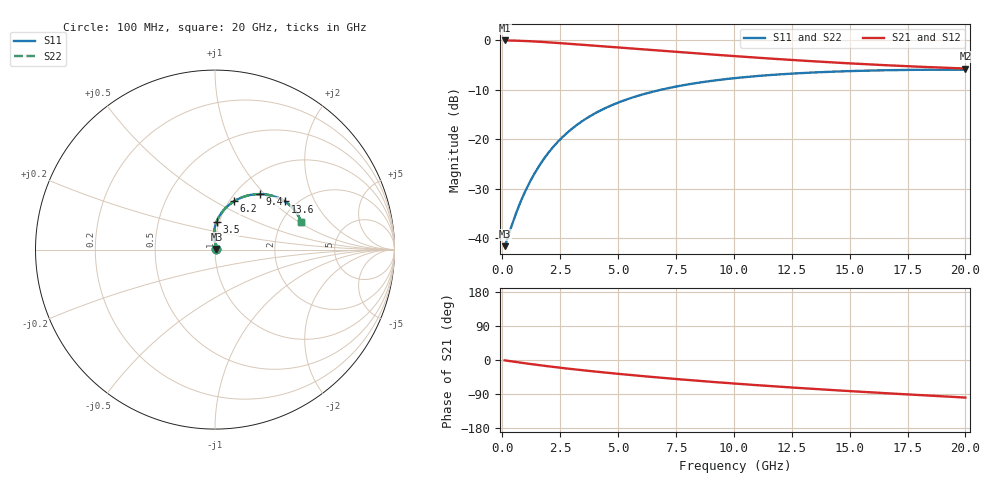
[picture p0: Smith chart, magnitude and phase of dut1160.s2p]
! Touchstone file exported from HFSS 2024.1.0
!  File:  C:/UserFiles/LocalFiles/RDL_TSV_Batchsim/temp_RDL_TSV_1160_1780120388.aedt
!  Generated:  02:11:01 PM May 30, 2026
!  Design:  RDL_TSV
!  Project:  temp_RDL_TSV_1160_1780120388
!  Setup:  Setup1
!  Solution:  Sweep
! Variables:
!  dtsv = 6.74um
!  hbump = 3um
!  htsv = 53.3um
!  ldown = 263.85um
!  lrdl = 125.52um
!  p = 40
!  p1 = 56.34um
!  rhole = 10um
!  subl = 1293.63um
!  t = 450um
!  tdown = 4.86um
!  trdl = 4.55um
!  viad = 10um
!  wdown = 12.55um
!  wrdl = 19.38um
!  xbump = 18um
# GHz S MA R 50.000000
! Terminal data exported
! Port[1] = TM1_1_T1
! Port[2] = TM1_4_T1
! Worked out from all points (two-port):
!   200 points, 100 MHz to 20 GHz, reference 50 ohm
!   highest |S21| = -0.07 dB at 100 MHz (marker M1); lowest = -5.7 dB at 20 GHz (marker M2)
!   |S21| within 3 dB of the highest: start of sweep to 9.538 GHz
!   lowest |S11| = -41.6 dB at 100 MHz (marker M3), VSWR 1.02, Z = 50.8 + j0.292 ohm
!   |S11| at or under -10 dB: start of sweep to 6.875 GHz
!   |S22| runs from -41.6 to -6.0 dB; largest |S21 - S12| = 7.1e-15
!   S11 on the Smith chart (normalised r, x): 100 MHz: 1.02, +0.01; 3.5 GHz: 0.97, +0.31; 6.2 GHz: 1.05, +0.62; 9.4 GHz: 1.28, +0.94; 13.6 GHz: 1.75, +1.21; 20 GHz: 2.54, +1.03
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0.1  0.008298 20.3  0.992 -0.9  0.992 -0.9  0.008298 20.3
! Gamma 0 0 0 0
! Port Impedance 50 0 50 0
0.5  0.0155 64.5  0.9884 -4.4  0.9884 -4.4  0.0155 64.5
0.8  0.02356 79.0  0.9835 -7.0  0.9835 -7.0  0.02356 79.0
1.1  0.03357 87.0  0.9768 -9.6  0.9768 -9.6  0.03357 87.0
1.5  0.04965 92.2  0.9658 -12.8  0.9658 -12.8  0.04964 92.2
1.9  0.06828 93.8  0.953 -16.0  0.953 -16.0  0.06826 93.8
2.4  0.09405 93.0  0.9357 -19.7  0.9357 -19.7  0.09402 93.0
2.9  0.1213 90.7  0.9177 -23.2  0.9177 -23.2  0.1213 90.7
3.5  0.1546 86.9  0.8959 -27.2  0.8959 -27.2  0.1545 86.9
4.1  0.1873 82.7  0.8744 -31.1  0.8744 -31.1  0.1872 82.7
4.7  0.2186 78.5  0.8532 -34.7  0.8532 -34.7  0.2185 78.5
5.4  0.2529 73.7  0.8292 -38.8  0.8292 -38.8  0.2528 73.7
6.2  0.2888 68.5  0.8026 -43.3  0.8026 -43.3  0.2887 68.5
6.8  0.3133 64.9  0.7832 -46.5  0.7832 -46.5  0.3132 64.9
8  0.3564 58.1  0.7462 -52.6  0.7462 -52.6  0.3563 58.1
9.4  0.3973 51.1  0.7061 -59.3  0.7061 -59.3  0.3972 51.1
10.1  0.4144 47.9  0.6873 -62.5  0.6873 -62.5  0.4144 47.9
11.7  0.4463 41.3  0.6481 -69.3  0.6481 -69.3  0.4462 41.3
13.4  0.4707 35.2  0.6117 -76.1  0.6117 -76.1  0.4706 35.2
13.6  0.473 34.6  0.6078 -76.9  0.6078 -76.9  0.4729 34.6
16.7  0.497 25.4  0.5558 -88.1  0.5558 -88.1  0.4969 25.4
20  0.503 17.5  0.5167 -99.1  0.5167 -99.1  0.5029 17.5
